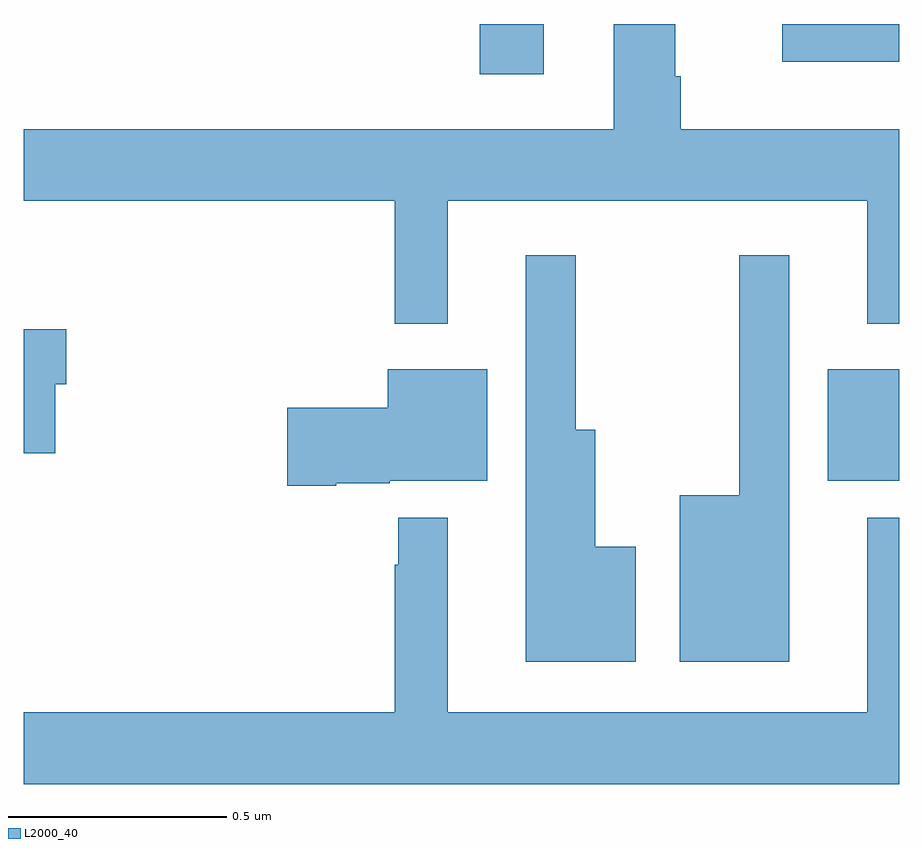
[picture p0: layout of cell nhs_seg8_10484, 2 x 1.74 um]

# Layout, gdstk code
import gdstk
lib = gdstk.Library(unit=1e-6, precision=1e-09)
def R(c, l, rs):  # rectangles x0, y0, x1, y1
    for r in rs: c.add(gdstk.rectangle(r[:2], r[2:], *l))
def P(c, l, *ps):  # polygons
    for p in ps: c.add(gdstk.Polygon(p, *l))
L2000_40 = (2000, 40)

nhs_seg8_10484 = lib.new_cell('nhs_seg8_10484')
R(nhs_seg8_10484, L2000_40, [(251.837,1119.857,252,1120.111), (251.042,1120.785,251.188,1120.9), (251.733,1120.814,252,1120.9)])
P(nhs_seg8_10484, L2000_40, [(250.969,1120.496),(251.927,1120.496),(251.927,1120.215),(252,1120.215),(252,1120.66),(251.501,1120.66),(251.501,1120.781),(251.488,1120.781),(251.488,1120.9),(251.348,1120.9),(251.348,1120.66),(250,1120.66),(250,1120.496),(250.848,1120.496),(250.848,1120.215),(250.969,1120.215)],
  [(251.749,1120.372),(251.635,1120.372),(251.635,1119.823),(251.498,1119.823),(251.498,1119.443),(251.749,1119.443)],
  [(251.398,1119.706),(251.305,1119.706),(251.305,1119.973),(251.261,1119.973),(251.261,1120.372),(251.147,1120.372),(251.147,1119.443),(251.398,1119.443)],
  [(250.072,1120.077),(250.097,1120.077),(250.097,1120.203),(250,1120.203),(250,1119.92),(250.072,1119.92)],
  [(250.714,1119.851),(250.836,1119.851),(250.836,1119.857),(251.059,1119.857),(251.059,1120.111),(250.832,1120.111),(250.832,1120.023),(250.602,1120.023),(250.602,1119.845),(250.714,1119.845)],
  [(252,1119.772),(251.927,1119.772),(251.927,1119.328),(250.969,1119.328),(250.969,1119.772),(250.855,1119.772),(250.855,1119.665),(250.848,1119.665),(250.848,1119.328),(250,1119.328),(250,1119.164),(252,1119.164)])

lib.write_gds('nhs_seg8_10484.gds')
